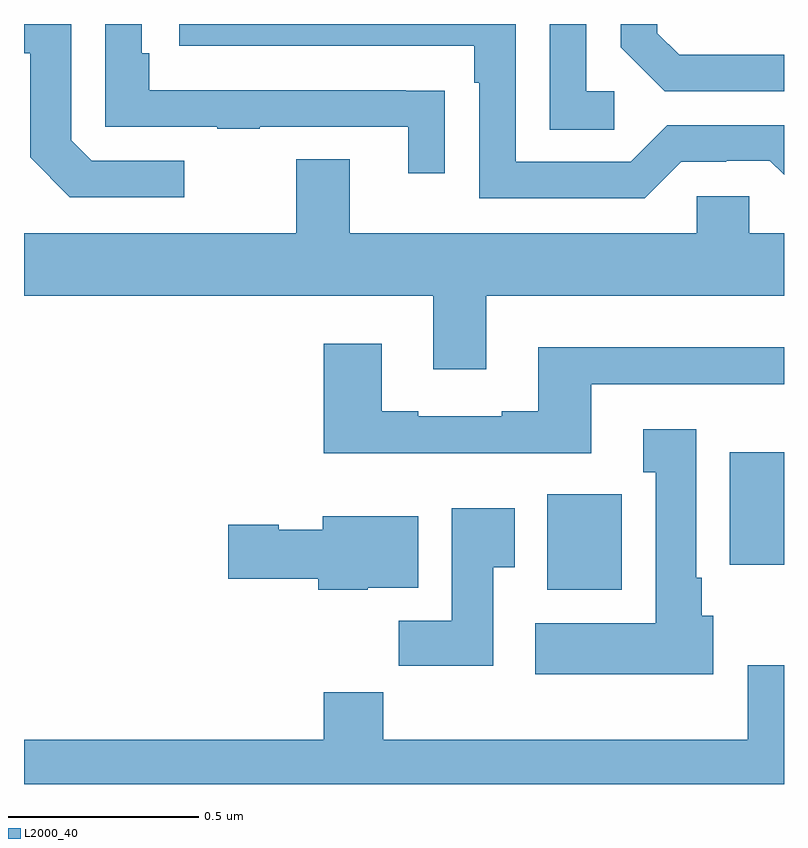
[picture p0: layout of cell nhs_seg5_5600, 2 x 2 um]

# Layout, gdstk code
import gdstk
lib = gdstk.Library(unit=1e-6, precision=1e-09)
def R(c, l, rs):  # rectangles x0, y0, x1, y1
    for r in rs: c.add(gdstk.rectangle(r[:2], r[2:], *l))
def P(c, l, *ps):  # polygons
    for p in ps: c.add(gdstk.Polygon(p, *l))
L2000_40 = (2000, 40)

nhs_seg5_5600 = lib.new_cell('nhs_seg5_5600')
R(nhs_seg5_5600, L2000_40, [(186.377,865.31,186.573,865.561), (186.857,865.376,187,865.672)])
P(nhs_seg5_5600, L2000_40, [(185.422,866.439),(185.178,866.439),(185.124,866.493),(185.124,866.799),(185,866.799),(185,866.722),(185.016,866.722),(185.016,866.449),(185.121,866.343),(185.422,866.343)],
  [(187,866.718),(186.724,866.718),(186.667,866.775),(186.667,866.799),(186.57,866.799),(186.57,866.738),(186.686,866.622),(187,866.622)],
  [(186.553,866.622),(186.48,866.622),(186.48,866.799),(186.384,866.799),(186.384,866.521),(186.553,866.521)],
  [(186.729,866.436),(186.848,866.436),(186.848,866.439),(186.963,866.439),(187,866.402),(187,866.532),(186.693,866.532),(186.597,866.436),(186.294,866.436),(186.294,866.799),(185.409,866.799),(185.409,866.742),(186.185,866.742),(186.185,866.645),(186.198,866.645),(186.198,866.34),(186.633,866.34)],
  [(186.107,866.624),(186.005,866.624),(186.005,866.625),(185.33,866.625),(185.33,866.722),(185.31,866.722),(185.31,866.799),(185.214,866.799),(185.214,866.529),(185.509,866.529),(185.509,866.524),(185.621,866.524),(185.621,866.529),(186.011,866.529),(186.011,866.406),(186.107,866.406)],
  [(186.217,866.084),(187,866.084),(187,866.248),(186.909,866.248),(186.909,866.346),(186.771,866.346),(186.771,866.248),(185.857,866.248),(185.857,866.443),(185.717,866.443),(185.717,866.248),(185,866.248),(185,866.084),(186.077,866.084),(186.077,865.89),(186.217,865.89)],
  [(186.493,865.851),(187,865.851),(187,865.948),(186.353,865.948),(186.353,865.78),(186.257,865.78),(186.257,865.767),(186.037,865.767),(186.037,865.78),(185.941,865.78),(185.941,865.957),(185.789,865.957),(185.789,865.67),(186.493,865.67)],
  [(186.814,865.242),(186.784,865.242),(186.784,865.342),(186.769,865.342),(186.769,865.732),(186.629,865.732),(186.629,865.619),(186.662,865.619),(186.662,865.222),(186.345,865.222),(186.345,865.088),(186.814,865.088)],
  [(186.235,865.369),(186.292,865.369),(186.292,865.525),(186.125,865.525),(186.125,865.228),(185.986,865.228),(185.986,865.11),(186.235,865.11)],
  [(185.904,865.316),(186.037,865.316),(186.037,865.504),(185.786,865.504),(185.786,865.468),(185.67,865.468),(185.67,865.481),(185.538,865.481),(185.538,865.339),(185.774,865.339),(185.774,865.31),(185.904,865.31)],
  [(187,865.111),(186.905,865.111),(186.905,864.916),(185.945,864.916),(185.945,865.04),(185.789,865.04),(185.789,864.916),(185,864.916),(185,864.799),(187,864.799)])

lib.write_gds('nhs_seg5_5600.gds')
